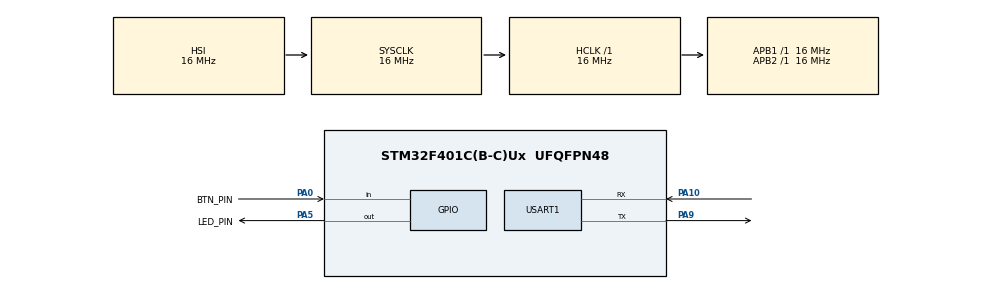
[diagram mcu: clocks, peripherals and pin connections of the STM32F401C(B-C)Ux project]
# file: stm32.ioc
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Mcu.Family=STM32F4
Mcu.Name=STM32F401C(B-C)Ux
Mcu.Package=UFQFPN48
NVIC.PriorityGroup=NVIC_PRIORITYGROUP_4
NVIC.USART1_IRQn=true\:0\:0\:false\:false\:true\:true\:true\:true
PA0-WKUP.GPIO_Label=BTN_PIN
PA0-WKUP.GPIO_PuPd=GPIO_PULLUP
PA0-WKUP.Signal=GPIO_Input
PA10.Mode=Asynchronous
PA10.Signal=USART1_RX
PA5.GPIO_Label=LED_PIN
PA5.Signal=GPIO_Output
PA9.Mode=Asynchronous
PA9.Signal=USART1_TX
ProjectManager.HeapSize=0x200
ProjectManager.StackSize=0x400
ProjectManager.TargetToolchain=STM32CubeIDE
RCC.AHBFreq_Value=16000000
RCC.APB1Freq_Value=16000000
RCC.APB2Freq_Value=16000000
RCC.CortexFreq_Value=16000000
RCC.HSE_VALUE=25000000
RCC.HSI_VALUE=16000000
RCC.LSE_VALUE=32768
RCC.SYSCLKFreq_VALUE=16000000
RCC.VCOOutputFreq_Value=192000000
USART1.VirtualMode=VM_ASYNC
board=custom

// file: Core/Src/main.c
/* USER CODE BEGIN Header */
/**
  ******************************************************************************
  * @file           : main.c
  * @brief          : Main program body
  ******************************************************************************
  * @attention
  *
  * Copyright (c) 2026 STMicroelectronics.
  * All rights reserved.
  *
  * This software is licensed under terms that can be found in the LICENSE file
  * in the root directory of this software component.
  * If no LICENSE file comes with this software, it is provided AS-IS.
  *
  ******************************************************************************
  */
/* USER CODE END Header */
#include "main.h"

UART_HandleTypeDef huart1;

/* USER CODE BEGIN PV */

// global variable
uint8_t rx_data = 0;

/* USER CODE END PV */

void SystemClock_Config(void);
static void MX_GPIO_Init(void);
static void MX_USART1_UART_Init(void);

int main(void)
{

  /* MCU Configuration--------------------------------------------------------*/

  /* Reset of all peripherals, Initializes the Flash interface and the Systick. */
  HAL_Init();

  /* Configure the system clock */
  SystemClock_Config();

  /* Initialize all configured peripherals */
  MX_GPIO_Init();
  MX_USART1_UART_Init();
  /* USER CODE BEGIN 2 */

  // We start receiving 1 byte upon interrupt from ESP32
  HAL_UART_Receive_IT(&huart1, &rx_data, 1);

  // Variable to track the previous state of the button (to prevent replays)
  GPIO_PinState last_btn_state = GPIO_PIN_SET;
  /* USER CODE END 2 */

  /* Infinite loop */
  /* USER CODE BEGIN WHILE */
  while (1)
  {
	// Read current button state STM32
	GPIO_PinState current_btn_state = HAL_GPIO_ReadPin(BTN_PIN_GPIO_Port, BTN_PIN_Pin);

	// Detecting a press (transition from High (1) to Low (0) via PULLUP)
	if(last_btn_state == GPIO_PIN_SET && current_btn_state == GPIO_PIN_RESET) {
		uint8_t cmd = '1';

		// send '1' to ESP32
		HAL_UART_Transmit(&huart1, &cmd, 1, 100);

		// debounce
		HAL_Delay(200);
	}

	last_btn_state = current_btn_state;

	HAL_Delay(10);
    /* USER CODE END WHILE */

  }
}

void SystemClock_Config(void)
{
  RCC_OscInitTypeDef RCC_OscInitStruct = {0};
  RCC_ClkInitTypeDef RCC_ClkInitStruct = {0};

  /** Configure the main internal regulator output voltage
  */
  __HAL_RCC_PWR_CLK_ENABLE();
  __HAL_PWR_VOLTAGESCALING_CONFIG(PWR_REGULATOR_VOLTAGE_SCALE2);

  /** Initializes the RCC Oscillators according to the specified parameters
  * in the RCC_OscInitTypeDef structure.
  */
  RCC_OscInitStruct.OscillatorType = RCC_OSCILLATORTYPE_HSI;
  RCC_OscInitStruct.HSIState = RCC_HSI_ON;
  RCC_OscInitStruct.HSICalibrationValue = RCC_HSICALIBRATION_DEFAULT;
  RCC_OscInitStruct.PLL.PLLState = RCC_PLL_NONE;
  if (HAL_RCC_OscConfig(&RCC_OscInitStruct) != HAL_OK)
  {
    Error_Handler();
  }

  /** Initializes the CPU, AHB and APB buses clocks
  */
  RCC_ClkInitStruct.ClockType = RCC_CLOCKTYPE_HCLK|RCC_CLOCKTYPE_SYSCLK
                              |RCC_CLOCKTYPE_PCLK1|RCC_CLOCKTYPE_PCLK2;
  RCC_ClkInitStruct.SYSCLKSource = RCC_SYSCLKSOURCE_HSI;
  RCC_ClkInitStruct.AHBCLKDivider = RCC_SYSCLK_DIV1;
  RCC_ClkInitStruct.APB1CLKDivider = RCC_HCLK_DIV1;
  RCC_ClkInitStruct.APB2CLKDivider = RCC_HCLK_DIV1;

  if (HAL_RCC_ClockConfig(&RCC_ClkInitStruct, FLASH_LATENCY_0) != HAL_OK)
  {
    Error_Handler();
  }
}

static void MX_USART1_UART_Init(void)
{

  huart1.Instance = USART1;
  huart1.Init.BaudRate = 115200;
  huart1.Init.WordLength = UART_WORDLENGTH_8B;
  huart1.Init.StopBits = UART_STOPBITS_1;
  huart1.Init.Parity = UART_PARITY_NONE;
  huart1.Init.Mode = UART_MODE_TX_RX;
  huart1.Init.HwFlowCtl = UART_HWCONTROL_NONE;
  huart1.Init.OverSampling = UART_OVERSAMPLING_16;
  if (HAL_UART_Init(&huart1) != HAL_OK)
  {
    Error_Handler();
  }

}

static void MX_GPIO_Init(void)
{
  GPIO_InitTypeDef GPIO_InitStruct = {0};

  /* GPIO Ports Clock Enable */
  __HAL_RCC_GPIOA_CLK_ENABLE();

  /*Configure GPIO pin Output Level */
  HAL_GPIO_WritePin(LED_PIN_GPIO_Port, LED_PIN_Pin, GPIO_PIN_RESET);

  /*Configure GPIO pin : BTN_PIN_Pin */
  GPIO_InitStruct.Pin = BTN_PIN_Pin;
  GPIO_InitStruct.Mode = GPIO_MODE_INPUT;
  GPIO_InitStruct.Pull = GPIO_PULLUP;
  HAL_GPIO_Init(BTN_PIN_GPIO_Port, &GPIO_InitStruct);

  /*Configure GPIO pin : LED_PIN_Pin */
  GPIO_InitStruct.Pin = LED_PIN_Pin;
  GPIO_InitStruct.Mode = GPIO_MODE_OUTPUT_PP;
  GPIO_InitStruct.Pull = GPIO_NOPULL;
  GPIO_InitStruct.Speed = GPIO_SPEED_FREQ_LOW;
  HAL_GPIO_Init(LED_PIN_GPIO_Port, &GPIO_InitStruct);

}

/* USER CODE BEGIN 4 */

// callback when receive bite by UART
void HAL_UART_RxCpltCallback(UART_HandleTypeDef *huart){
	if(huart->Instance == USART1) {
		// when receive from ESP32 '1', change the LED state
		if(rx_data == '1' ) {
			HAL_GPIO_TogglePin(LED_PIN_GPIO_Port, LED_PIN_Pin);
		}

		// Require to restart the interrupt for the next byte
		HAL_UART_Receive_IT(&huart1, &rx_data, 1);
	}
}
/* USER CODE END 4 */

void Error_Handler(void)
{
  __disable_irq();
  while (1)
  {
  }
}
